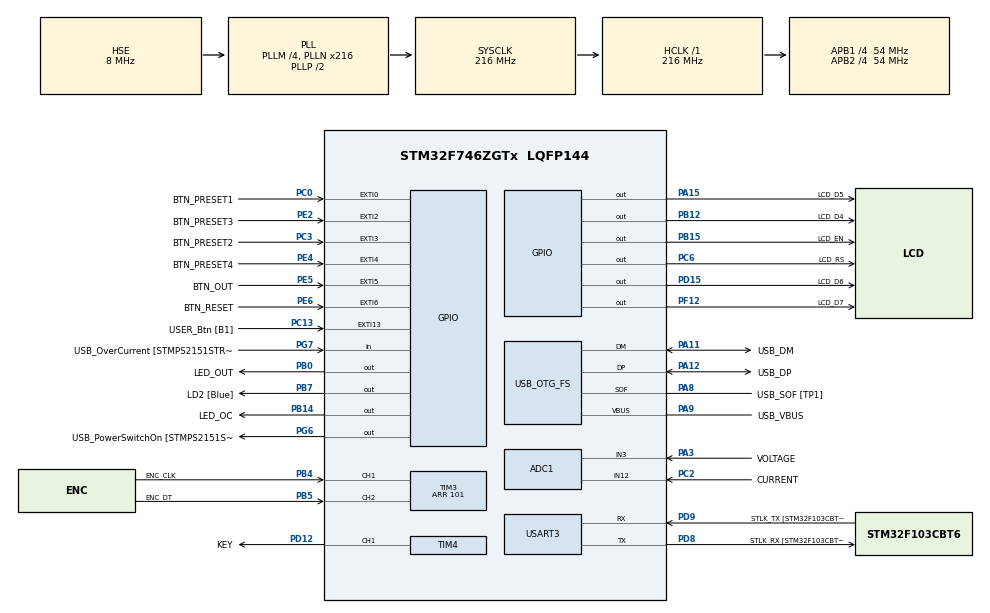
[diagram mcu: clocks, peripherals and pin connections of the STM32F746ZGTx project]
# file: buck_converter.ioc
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ADC1.Channel-0\#ChannelRegularConversion=ADC_CHANNEL_3
ADC1.Channel-1\#ChannelRegularConversion=ADC_CHANNEL_12
ADC1.DMAContinuousRequests=ENABLE
ADC1.EOCSelection=ADC_EOC_SEQ_CONV
ADC1.NbrOfConversion=2
ADC1.NbrOfConversionFlag=1
ADC1.Rank-0\#ChannelRegularConversion=1
ADC1.Rank-1\#ChannelRegularConversion=2
ADC1.SamplingTime-0\#ChannelRegularConversion=ADC_SAMPLETIME_480CYCLES
ADC1.SamplingTime-1\#ChannelRegularConversion=ADC_SAMPLETIME_480CYCLES
ADC1.ScanConvMode=ADC_SCAN_ENABLE
ADC1.master=1
Dma.ADC1.0.Direction=DMA_PERIPH_TO_MEMORY
Dma.ADC1.0.FIFOMode=DMA_FIFOMODE_DISABLE
Dma.ADC1.0.Instance=DMA2_Stream0
Dma.ADC1.0.MemDataAlignment=DMA_MDATAALIGN_HALFWORD
Dma.ADC1.0.MemInc=DMA_MINC_ENABLE
Dma.ADC1.0.Mode=DMA_CIRCULAR
Dma.ADC1.0.PeriphDataAlignment=DMA_PDATAALIGN_HALFWORD
Dma.ADC1.0.PeriphInc=DMA_PINC_DISABLE
Dma.ADC1.0.Priority=DMA_PRIORITY_LOW
Dma.Request0=ADC1
Mcu.Family=STM32F7
Mcu.Name=STM32F746ZGTx
Mcu.Package=LQFP144
NVIC.DMA2_Stream0_IRQn=true\:0\:0\:false\:false\:true\:false\:true\:true
NVIC.EXTI0_IRQn=true\:0\:0\:false\:false\:true\:true\:true\:true
NVIC.EXTI2_IRQn=true\:0\:0\:false\:false\:true\:true\:true\:true
NVIC.EXTI4_IRQn=true\:0\:0\:false\:false\:true\:true\:true\:true
NVIC.EXTI9_5_IRQn=true\:0\:0\:false\:false\:true\:true\:true\:true
NVIC.PriorityGroup=NVIC_PRIORITYGROUP_4
NVIC.TIM1_UP_TIM10_IRQn=true\:0\:0\:false\:false\:true\:true\:true\:true
NVIC.USART3_IRQn=true\:0\:0\:false\:false\:true\:true\:true\:true
PA10.GPIO_Label=USB_ID
PA10.Signal=USB_OTG_FS_ID
PA11.GPIO_Label=USB_DM
PA11.Mode=Device_Only
PA11.Signal=USB_OTG_FS_DM
PA12.GPIO_Label=USB_DP
PA12.Mode=Device_Only
PA12.Signal=USB_OTG_FS_DP
PA13.GPIO_Label=TMS
PA13.Mode=Serial_Wire
PA13.Signal=SYS_JTMS-SWDIO
PA14.GPIO_Label=TCK
PA14.Mode=Serial_Wire
PA14.Signal=SYS_JTCK-SWCLK
PA15.GPIO_Label=LCD_D5
PA15.Signal=GPIO_Output
PA3.GPIO_Label=VOLTAGE
PA3.Signal=ADCx_IN3
PA8.GPIO_Label=USB_SOF [TP1]
PA8.Mode=Activate_SOF_FS
PA8.Signal=USB_OTG_FS_SOF
PA9.GPIO_Label=USB_VBUS
PA9.Mode=Activate_VBUS
PA9.Signal=USB_OTG_FS_VBUS
PB0.GPIO_Label=LED_OUT
PB0.Signal=GPIO_Output
PB12.GPIO_Label=LCD_D4
PB12.Signal=GPIO_Output
PB14.GPIO_Label=LED_OC
PB14.Signal=GPIO_Output
PB15.GPIO_Label=LCD_EN
PB15.Signal=GPIO_Output
PB3.GPIO_Label=SW0
PB3.Signal=SYS_JTDO-SWO
PB4.GPIO_Label=ENC_CLK
PB4.GPIO_PuPd=GPIO_PULLUP
PB4.Signal=S_TIM3_CH1
PB5.GPIO_Label=ENC_DT
PB5.GPIO_PuPd=GPIO_PULLUP
PB5.Signal=S_TIM3_CH2
PB7.GPIO_Label=LD2 [Blue]
PB7.Signal=GPIO_Output
PC0.GPIO_Label=BTN_PRESET1
PC0.GPIO_PuPd=GPIO_PULLUP
PC0.Signal=GPXTI0
PC13.GPIO_Label=USER_Btn [B1]
PC13.GPIO_PuPd=GPIO_PULLDOWN
PC13.Signal=GPXTI13
PC14/OSC32_IN.Mode=LSE-External-Oscillator
PC14/OSC32_IN.Signal=RCC_OSC32_IN
PC15/OSC32_OUT.Mode=LSE-External-Oscillator
PC15/OSC32_OUT.Signal=RCC_OSC32_OUT
PC2.GPIO_Label=CURRENT
PC2.Signal=ADCx_IN12
PC3.GPIO_Label=BTN_PRESET2
PC3.GPIO_PuPd=GPIO_PULLUP
PC3.Signal=GPXTI3
PC6.GPIO_Label=LCD_RS
PC6.Signal=GPIO_Output
PD12.GPIO_Label=KEY
PD12.Signal=S_TIM4_CH1
PD15.GPIO_Label=LCD_D6
PD15.Signal=GPIO_Output
PD8.GPIO_Label=STLK_RX [STM32F103CBT6_PA3]
PD8.Mode=Asynchronous
PD8.Signal=USART3_TX
PD9.GPIO_Label=STLK_TX [STM32F103CBT6_PA2]
PD9.Mode=Asynchronous
PD9.Signal=USART3_RX
PE2.GPIO_Label=BTN_PRESET3
PE2.GPIO_PuPd=GPIO_PULLUP
PE2.Signal=GPXTI2
PE4.GPIO_Label=BTN_PRESET4
PE4.GPIO_PuPd=GPIO_PULLUP
PE4.Signal=GPXTI4
PE5.GPIO_Label=BTN_OUT
PE5.GPIO_PuPd=GPIO_PULLUP
PE5.Signal=GPXTI5
PE6.GPIO_Label=BTN_RESET
PE6.GPIO_PuPd=GPIO_PULLUP
PE6.Signal=GPXTI6
PF12.GPIO_Label=LCD_D7
PF12.Signal=GPIO_Output
PG6.GPIO_Label=USB_PowerSwitchOn [STMPS2151STR_EN]
PG6.Signal=GPIO_Output
PG7.GPIO_Label=USB_OverCurrent [STMPS2151STR_FAULT]
PG7.Signal=GPIO_Input
PH0/OSC_IN.GPIO_Label=MCO [STM32F103CBT6_PA8]
PH0/OSC_IN.Mode=HSE-External-Clock-Source
PH0/OSC_IN.Signal=RCC_OSC_IN
PH1/OSC_OUT.Mode=HSE-External-Clock-Source
PH1/OSC_OUT.Signal=RCC_OSC_OUT
ProjectManager.HeapSize=0x200
ProjectManager.StackSize=0x400
ProjectManager.TargetToolchain=STM32CubeIDE
RCC.48MHZClocksFreq_Value=24000000
RCC.AHBFreq_Value=216000000
RCC.APB1CLKDivider=RCC_HCLK_DIV4
RCC.APB1Freq_Value=54000000
RCC.APB1TimFreq_Value=108000000
RCC.APB2CLKDivider=RCC_HCLK_DIV4
RCC.APB2Freq_Value=54000000
RCC.APB2TimFreq_Value=108000000
RCC.CortexFreq_Value=216000000
RCC.HCLKFreq_Value=216000000
RCC.HSE_VALUE=8000000
RCC.HSI_VALUE=16000000
RCC.PLLM=4
RCC.PLLMUL=RCC_PLL_MUL9
RCC.PLLN=216
RCC.PLLQ=9
RCC.PRESCALERUSB=RCC_USBCLKSOURCE_PLL_DIV1_5
RCC.SYSCLKFreq_VALUE=216000000
RCC.SYSCLKSource=RCC_SYSCLKSOURCE_PLLCLK
RCC.SYSCLKSourceVirtual=RCC_SYSCLKSOURCE_PLLCLK
RCC.USART3CLockSelection=RCC_USART3CLKSOURCE_SYSCLK
RCC.USBFreq_Value=48000000
RCC.VCOOutputFreq_Value=432000000
SH.ADCx_IN12.0=ADC1_IN12,IN12
SH.ADCx_IN3.0=ADC1_IN3,IN3
SH.S_TIM3_CH1.0=TIM3_CH1,Encoder_Interface
SH.S_TIM3_CH2.0=TIM3_CH2,Encoder_Interface
SH.S_TIM4_CH1.0=TIM4_CH1,PWM Generation1 CH1
TIM10.Period=17999
TIM10.Prescaler=5
TIM3.CounterMode=TIM_COUNTERMODE_UP
TIM3.EncoderMode=TIM_ENCODERMODE_TI12
TIM3.IC1Filter=15
TIM3.IC1Polarity=TIM_ICPOLARITY_RISING
TIM3.IC2Filter=15
TIM3.IC2Polarity=TIM_ICPOLARITY_RISING
TIM3.Period=101
TIM4.Channel-PWM\ Generation1\ CH1=TIM_CHANNEL_1
TIM4.Period=99
TIM4.Prescaler=107
TIM4.Pulse-PWM\ Generation1\ CH1=50
TIM7.Prescaler=107
USART3.Parity=PARITY_NONE
USART3.VirtualMode-Asynchronous=VM_ASYNC
USB_OTG_FS.VirtualMode=Device_Only
VP_TIM10_VS_ClockSourceINT.Mode=Enable_Timer
VP_TIM4_VS_ClockSourceINT.Mode=Internal
VP_TIM7_VS_ClockSourceINT.Mode=Enable_Timer
board=NUCLEO-F746ZG

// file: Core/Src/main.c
/* USER CODE BEGIN Header */
/**
 ******************************************************************************
 * @file           : main.c
 * @brief          : Main program body
 ******************************************************************************
 * @attention
 *
 * Copyright (c) 2023 STMicroelectronics.
 * All rights reserved.
 *
 * This software is licensed under terms that can be found in the LICENSE file
 * in the root directory of this software component.
 * If no LICENSE file comes with this software, it is provided AS-IS.
 *
 ******************************************************************************
 */
/* USER CODE END Header */
#include "main.h"
#include "adc.h"
#include "dma.h"
#include "tim.h"
#include "usart.h"
#include "usb_otg.h"
#include "gpio.h"

/* USER CODE BEGIN Includes */
#include "aio.h"
#include "buck_config.h"
#include "encoder_config.h"
#include "lcd_config.h"
#include "serial_api_config.h"
/* USER CODE END Includes */

/* USER CODE BEGIN PV */
// Controller parameters
const float KI = 0.01;

// Scaling factor based on the voltage divider
const unsigned int VOLTAGE_MULTIPLIER = 9.2;
// Scaling factor based on the shunt resistor
const unsigned int CURRENT_MULTIPLIER = 10;

static volatile uint16_t ADC1_DATA[2];
static uint16_t DUTY_CYCLE = 0;
static uint8_t UART_BUFFER_RX; // Single character read from the UART
static char UART_MSG[SERIAL_API_BUF_SIZE]; // UART message
static uint8_t UART_MSG_LENGTH = 0; // UART message length
static double ENERGY = 0;
/* USER CODE END PV */

void SystemClock_Config(void);

int main(void) {

    /* MCU Configuration--------------------------------------------------------*/

    /* Reset of all peripherals, Initializes the Flash interface and the Systick. */
    HAL_Init();

    /* Configure the system clock */
    SystemClock_Config();

    /* Initialize all configured peripherals */
    MX_GPIO_Init();
    MX_DMA_Init();
    MX_USB_OTG_FS_PCD_Init();
    MX_TIM4_Init();
    MX_USART3_UART_Init();
    MX_ADC1_Init();
    MX_TIM10_Init();
    MX_TIM7_Init();
    MX_TIM3_Init();
    /* USER CODE BEGIN 2 */
    HAL_TIM_Base_Start_IT(&htim10); // 1 kHz
    HAL_TIM_PWM_Start(&htim4, TIM_CHANNEL_1); // 10 kHz
    ENC_Init(&henc1);
    LCD_DIO_Init(&hlcd1);
    HAL_UART_Receive_IT(&huart3, &UART_BUFFER_RX, 1);
    /* USER CODE END 2 */

    /* Infinite loop */
    /* USER CODE BEGIN WHILE */
    while(1) {
        ENC_GetCounter(&henc1);
        if(henc1.CounterInc) {
            Buck_SetTargetVoltage(&hbuck1, Buck_GetTargetVoltage(&hbuck1) + 100);
        } else if(henc1.CounterDec) {
            Buck_SetTargetVoltage(&hbuck1, Buck_GetTargetVoltage(&hbuck1) - 100);
        }

        char lcd_buffer[LCD_LINE_BUF_LEN];

        float U = Buck_GetVoltage(&hbuck1) / 1000.0;
        float I = Buck_GetCurrent(&hbuck1) / 1000.0;
        float P = U * I;
        ENERGY = ENERGY + P * 0.001;

        snprintf(lcd_buffer, LCD_LINE_LEN, "%5.2f V", U);
        LCD_DIO_SetCursor(&hlcd1, 0, 0);
        LCD_DIO_printStr(&hlcd1, lcd_buffer);

        snprintf(lcd_buffer, LCD_LINE_LEN, "%5.2f A", I);
        LCD_DIO_SetCursor(&hlcd1, 1, 0);
        LCD_DIO_printStr(&hlcd1, lcd_buffer);

        snprintf(lcd_buffer, LCD_LINE_LEN, "%5.2f W", P);
        LCD_DIO_SetCursor(&hlcd1, 0, 8);
        LCD_DIO_printStr(&hlcd1, lcd_buffer);

        snprintf(lcd_buffer, LCD_LINE_LEN, "%5.2f Wh", ENERGY);
        LCD_DIO_SetCursor(&hlcd1, 1, 8);
        LCD_DIO_printStr(&hlcd1, lcd_buffer);

        static char uart_buffer_tx[SERIAL_API_BUF_SIZE];
        Serial_API_WriteMsg(&hbuck1, uart_buffer_tx);
        HAL_UART_Transmit_IT(&huart3, (uint8_t*)uart_buffer_tx, strlen(uart_buffer_tx));

        HAL_Delay(250);
        /* USER CODE END WHILE */

    }
}

void SystemClock_Config(void) {
    RCC_OscInitTypeDef RCC_OscInitStruct = { 0 };
    RCC_ClkInitTypeDef RCC_ClkInitStruct = { 0 };

    /** Configure LSE Drive Capability
     */
    HAL_PWR_EnableBkUpAccess();

    /** Configure the main internal regulator output voltage
     */
    __HAL_RCC_PWR_CLK_ENABLE();
    __HAL_PWR_VOLTAGESCALING_CONFIG(PWR_REGULATOR_VOLTAGE_SCALE1);

    /** Initializes the RCC Oscillators according to the specified parameters
     * in the RCC_OscInitTypeDef structure.
     */
    RCC_OscInitStruct.OscillatorType = RCC_OSCILLATORTYPE_HSE;
    RCC_OscInitStruct.HSEState = RCC_HSE_BYPASS;
    RCC_OscInitStruct.PLL.PLLState = RCC_PLL_ON;
    RCC_OscInitStruct.PLL.PLLSource = RCC_PLLSOURCE_HSE;
    RCC_OscInitStruct.PLL.PLLM = 4;
    RCC_OscInitStruct.PLL.PLLN = 216;
    RCC_OscInitStruct.PLL.PLLP = RCC_PLLP_DIV2;
    RCC_OscInitStruct.PLL.PLLQ = 9;
    if(HAL_RCC_OscConfig(&RCC_OscInitStruct) != HAL_OK) {
        Error_Handler();
    }

    /** Activate the Over-Drive mode
     */
    if(HAL_PWREx_EnableOverDrive() != HAL_OK) {
        Error_Handler();
    }

    /** Initializes the CPU, AHB and APB buses clocks
     */
    RCC_ClkInitStruct.ClockType = RCC_CLOCKTYPE_HCLK | RCC_CLOCKTYPE_SYSCLK | RCC_CLOCKTYPE_PCLK1 | RCC_CLOCKTYPE_PCLK2;
    RCC_ClkInitStruct.SYSCLKSource = RCC_SYSCLKSOURCE_PLLCLK;
    RCC_ClkInitStruct.AHBCLKDivider = RCC_SYSCLK_DIV1;
    RCC_ClkInitStruct.APB1CLKDivider = RCC_HCLK_DIV4;
    RCC_ClkInitStruct.APB2CLKDivider = RCC_HCLK_DIV4;

    if(HAL_RCC_ClockConfig(&RCC_ClkInitStruct, FLASH_LATENCY_7) != HAL_OK) {
        Error_Handler();
    }
}

/* USER CODE BEGIN 4 */
/**
 * @brief  Period elapsed callback in non-blocking mode
 * @param  htim TIM handle
 * @retval None
 */
void HAL_TIM_PeriodElapsedCallback(TIM_HandleTypeDef *htim) {
    if(htim == &htim10) {
        // ADC DMA request
        HAL_ADC_Start_DMA(&hadc1, (uint32_t*)ADC1_DATA, hadc1.Init.NbrOfConversion);
    }
}

/**
 * @brief  Regular conversion complete callback in non blocking mode
 * @param  hadc pointer to a ADC_HandleTypeDef structure that contains
 *         the configuration information for the specified ADC.
 * @retval None
 */
void HAL_ADC_ConvCpltCallback(ADC_HandleTypeDef *hadc) {
    if(hadc == &hadc1) {
        // Store values in the struct
        Buck_SetVoltage(&hbuck1, ADC_REG2VOLTAGE(ADC1_DATA[0] * VOLTAGE_MULTIPLIER));
        Buck_SetCurrent(&hbuck1, ADC_REG2VOLTAGE(ADC1_DATA[1] * CURRENT_MULTIPLIER));

        // Control loop
        int16_t error = (int16_t)Buck_GetTargetVoltage(&hbuck1) - (int16_t)Buck_GetVoltage(&hbuck1);
        float du = KI * error;

        DUTY_CYCLE += du;

        // Simple regulation
        //		if (Buck_GetVoltage(&hbuck1) < Buck_GetTargetVoltage(&hbuck1))
        //		{
        //			DUTY_CYCLE = DUTY_CYCLE + 1;
        //			if (DUTY_CYCLE > 100)
        //			{
        //				DUTY_CYCLE = 100;
        //			}
        //		}
        //		else
        //		{
        //			DUTY_CYCLE = DUTY_CYCLE - 1;
        //			if (DUTY_CYCLE < 0)
        //			{
        //				DUTY_CYCLE = 0;
        //			}
        //		}

        if(Buck_GetOutput(&hbuck1) == 1) {
            __HAL_TIM_SET_COMPARE(&htim4, TIM_CHANNEL_1, 100 - DUTY_CYCLE);
        } else {
            __HAL_TIM_SET_COMPARE(&htim4, TIM_CHANNEL_1, 100); // Output disabled
        }
    }
}

/**
 * @brief  EXTI line detection callbacks.
 * @param  GPIO_Pin Specifies the pins connected EXTI line
 * @retval None
 */
void HAL_GPIO_EXTI_Callback(uint16_t GPIO_Pin) {
    if(GPIO_Pin == BTN_OUT_Pin) {
        Buck_ToggleOutput(&hbuck1);
    } else if(GPIO_Pin == BTN_RESET_Pin) {
        ENERGY = 0;
    } else if(GPIO_Pin == BTN_PRESET1_Pin) {
        Buck_SetTargetVoltage(&hbuck1, 1500);
    } else if(GPIO_Pin == BTN_PRESET2_Pin) {
        Buck_SetTargetVoltage(&hbuck1, 3300);
    } else if(GPIO_Pin == BTN_PRESET3_Pin) {
        Buck_SetTargetVoltage(&hbuck1, 5000);
    } else if(GPIO_Pin == BTN_PRESET4_Pin) {
        Buck_SetTargetVoltage(&hbuck1, 12000);
    }
}

/**
 * @brief  Rx Transfer completed callback.
 * @param  huart UART handle.
 * @retval None
 */
void HAL_UART_RxCpltCallback(UART_HandleTypeDef *huart) {
    if(huart == &huart3) {
        if(UART_BUFFER_RX == '\n' || UART_BUFFER_RX == '\r') {
            if(UART_MSG_LENGTH > 0) {
                UART_MSG[UART_MSG_LENGTH] = '\0';
                UART_MSG_LENGTH = 0;
                Serial_API_ReadMsg(&hbuck1, UART_MSG);
            }
        } else {
            if(UART_MSG_LENGTH >= SERIAL_API_BUF_SIZE - 1) {
                UART_MSG_LENGTH = 0;
            }
            UART_MSG[UART_MSG_LENGTH++] = UART_BUFFER_RX;
        }

        HAL_UART_Receive_IT(&huart3, &UART_BUFFER_RX, 1);
    }
}
/* USER CODE END 4 */

void Error_Handler(void) {
    __disable_irq();
    while(1) {
    }
}
